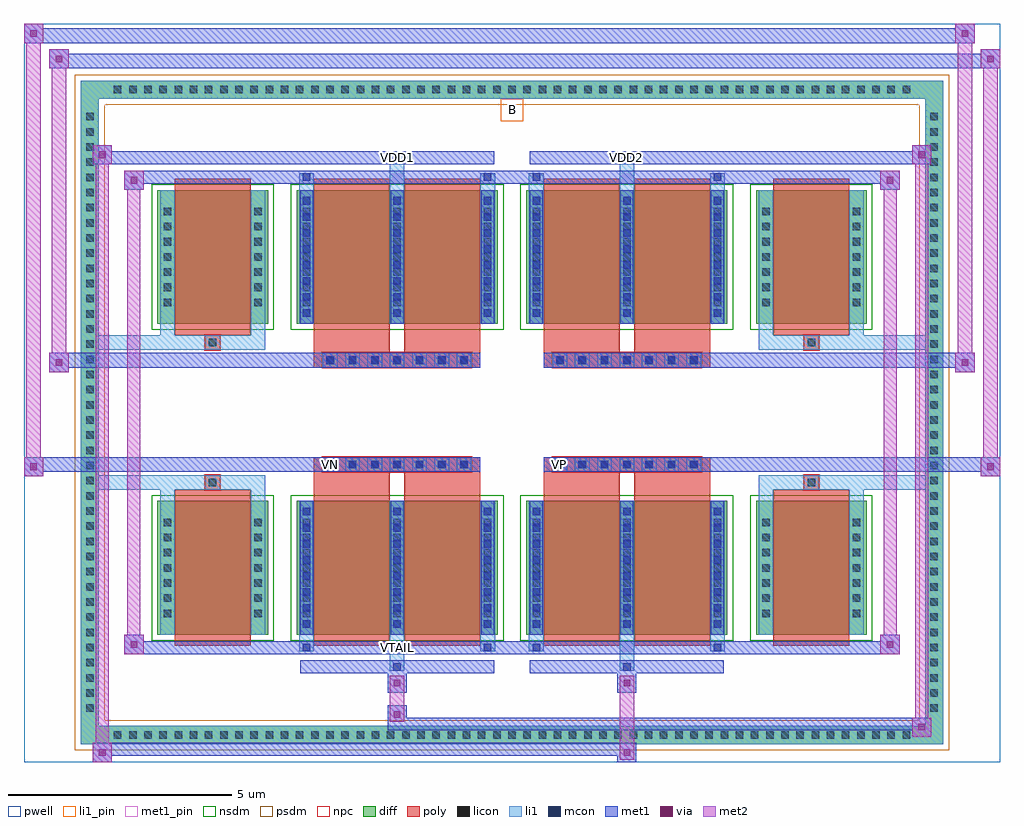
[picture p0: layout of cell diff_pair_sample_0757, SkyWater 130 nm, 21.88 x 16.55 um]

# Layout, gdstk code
import gdstk
lib = gdstk.Library(unit=1e-6, precision=5e-09)
def R(c, l, rs):  # rectangles x0, y0, x1, y1
    for r in rs: c.add(gdstk.rectangle(r[:2], r[2:], *l))
def A(c, l, x, y, w, h, nx, ny, dx, dy):  # array of equal rectangles
    R(c, l, [(x+i*dx, y+j*dy, x+i*dx+w, y+j*dy+h) for i in range(nx) for j in range(ny)])
def P(c, l, *ps):  # polygons
    for p in ps: c.add(gdstk.Polygon(p, *l))
pwell = (64, 44)
diff = (65, 20)
poly = (66, 20)
licon = (66, 44)
li1_pin = (67, 16)
li1 = (67, 20)
mcon = (67, 44)
met1_pin = (68, 16)
met1 = (68, 20)
via = (68, 44)
met2 = (69, 20)
nsdm = (93, 44)
psdm = (94, 20)
npc = (95, 20)

diff_pair_sample_0757 = lib.new_cell('diff_pair_sample_0757')
R(diff_pair_sample_0757, pwell, [(-10.94,-7.84,10.94,8.71), (-8.26,-6.03,-0.01,-0.805), (0.01,-6.03,8.26,-0.805), (-8.26,0.805,-0.01,6.03), (0.01,0.805,8.26,6.03)])
A(diff_pair_sample_0757, diff, -9.045, -7.44, 0.41, 0.41, 53, 2, 0.34, 14.47)
A(diff_pair_sample_0757, diff, -9.67, -6.835, 0.41, 0.41, 1, 40, 0, 0.34)
A(diff_pair_sample_0757, diff, 9.26, -6.835, 0.41, 0.41, 1, 40, 0, 0.34)
R(diff_pair_sample_0757, diff, [(-9.045,-7.44,9.045,-7.03), (-9.67,-6.835,-9.26,6.835), (9.26,-6.835,9.67,6.835), (-7.95,-4.985,-5.47,-1.985), (-4.83,-4.985,-0.32,-1.985), (0.32,-4.985,4.83,-1.985), (5.47,-4.985,7.95,-1.985), (-7.95,1.985,-5.47,4.985), (-4.83,1.985,-0.32,4.985), (0.32,1.985,4.83,4.985), (5.47,1.985,7.95,4.985), (-9.045,7.03,9.045,7.44)])
P(diff_pair_sample_0757, diff, [(9.67,7.44),(-9.67,7.44),(-9.67,-7.03),(-9.26,-7.03),(-9.26,7.03),(9.26,7.03),(9.26,-7.03),(-9.26,-7.03),(-9.67,-7.03),(-9.67,-7.44),(9.67,-7.44)])
A(diff_pair_sample_0757, poly, -4.24, -1.335, 0.33, 0.33, 7, 2, 0.5, 2.34)
A(diff_pair_sample_0757, poly, 0.91, -1.335, 0.33, 0.33, 7, 2, 0.5, 2.34)
R(diff_pair_sample_0757, poly, [(-7.56,-5.235,-5.86,-1.735), (-4.44,-5.235,-2.74,-1.735), (-2.41,-5.235,-0.71,-1.735), (0.71,-5.235,2.41,-1.735), (2.74,-5.235,4.44,-1.735), (5.86,-5.235,7.56,-1.735), (-6.875,-1.735,-6.545,-1.405), (-6.875,-1.735,-6.545,-1.405), (-4.44,-1.735,-2.74,-1.335), (-2.41,-1.735,-0.71,-1.335), (0.71,-1.735,2.41,-1.335), (2.74,-1.735,4.44,-1.335), (6.545,-1.735,6.875,-1.405), (6.545,-1.735,6.875,-1.405), (-4.44,-1.335,-0.71,-1.005), (0.71,-1.335,4.44,-1.005), (-4.44,1.005,-0.71,1.335), (0.71,1.005,4.44,1.335), (-4.44,1.335,-2.74,1.735), (-2.41,1.335,-0.71,1.735), (0.71,1.335,2.41,1.735), (2.74,1.335,4.44,1.735), (-6.875,1.405,-6.545,1.735), (-6.875,1.405,-6.545,1.735), (6.545,1.405,6.875,1.735), (6.545,1.405,6.875,1.735), (-7.56,1.735,-5.86,5.235), (-4.44,1.735,-2.74,5.235), (-2.41,1.735,-0.71,5.235), (0.71,1.735,2.41,5.235), (2.74,1.735,4.44,5.235), (5.86,1.735,7.56,5.235)])
A(diff_pair_sample_0757, licon, -8.925, -7.32, 0.17, 0.17, 53, 2, 0.34, 14.47)
A(diff_pair_sample_0757, licon, -9.55, -6.715, 0.17, 0.17, 1, 40, 0, 0.34)
A(diff_pair_sample_0757, licon, 9.38, -6.715, 0.17, 0.17, 1, 40, 0, 0.34)
A(diff_pair_sample_0757, licon, -7.81, -4.59, 0.17, 0.17, 1, 7, 0, 0.34)
A(diff_pair_sample_0757, licon, -5.78, -4.59, 0.17, 0.17, 1, 7, 0, 0.34)
A(diff_pair_sample_0757, licon, -4.69, -4.59, 0.17, 0.17, 3, 7, 2.03, 0.34)
A(diff_pair_sample_0757, licon, 0.46, -4.59, 0.17, 0.17, 3, 7, 2.03, 0.34)
A(diff_pair_sample_0757, licon, 5.61, -4.59, 0.17, 0.17, 1, 7, 0, 0.34)
A(diff_pair_sample_0757, licon, 7.64, -4.59, 0.17, 0.17, 1, 7, 0, 0.34)
A(diff_pair_sample_0757, licon, -4.16, -1.255, 0.17, 0.17, 7, 2, 0.5, 2.34)
A(diff_pair_sample_0757, licon, 0.99, -1.255, 0.17, 0.17, 7, 2, 0.5, 2.34)
A(diff_pair_sample_0757, licon, -7.81, 2.38, 0.17, 0.17, 1, 7, 0, 0.34)
A(diff_pair_sample_0757, licon, -5.78, 2.38, 0.17, 0.17, 1, 7, 0, 0.34)
A(diff_pair_sample_0757, licon, -4.69, 2.38, 0.17, 0.17, 3, 7, 2.03, 0.34)
A(diff_pair_sample_0757, licon, 0.46, 2.38, 0.17, 0.17, 3, 7, 2.03, 0.34)
A(diff_pair_sample_0757, licon, 5.61, 2.38, 0.17, 0.17, 1, 7, 0, 0.34)
A(diff_pair_sample_0757, licon, 7.64, 2.38, 0.17, 0.17, 1, 7, 0, 0.34)
R(diff_pair_sample_0757, licon, [(-6.795,-1.655,-6.625,-1.485), (6.625,-1.655,6.795,-1.485), (-6.795,1.485,-6.625,1.655), (6.625,1.485,6.795,1.655)])
R(diff_pair_sample_0757, li1_pin, [(-0.25,6.53,0.25,7.03)])
A(diff_pair_sample_0757, li1, -9.005, -7.4, 0.33, 0.33, 53, 2, 0.34, 14.47)
A(diff_pair_sample_0757, li1, -9.63, -6.795, 0.33, 0.33, 1, 40, 0, 0.34)
A(diff_pair_sample_0757, li1, 9.3, -6.795, 0.33, 0.33, 1, 40, 0, 0.34)
A(diff_pair_sample_0757, li1, -4.77, -4.985, 0.33, 3, 3, 2, 2.03, 6.97)
A(diff_pair_sample_0757, li1, 0.38, -4.985, 0.33, 3, 3, 2, 2.03, 6.97)
A(diff_pair_sample_0757, li1, -4.69, -4.83, 0.17, 0.17, 3, 8, 2.03, 0.36)
A(diff_pair_sample_0757, li1, -4.69, -4.83, 0.17, 2.69, 3, 2, 2.03, 6.97)
A(diff_pair_sample_0757, li1, 0.46, -4.83, 0.17, 0.17, 3, 8, 2.03, 0.36)
A(diff_pair_sample_0757, li1, 0.46, -4.83, 0.17, 2.69, 3, 2, 2.03, 6.97)
A(diff_pair_sample_0757, li1, -7.89, -4.67, 0.33, 0.33, 1, 7, 0, 0.34)
A(diff_pair_sample_0757, li1, -5.86, -4.67, 0.33, 0.33, 1, 7, 0, 0.34)
A(diff_pair_sample_0757, li1, -4.77, -4.67, 0.33, 0.33, 3, 7, 2.03, 0.34)
A(diff_pair_sample_0757, li1, 0.38, -4.67, 0.33, 0.33, 3, 7, 2.03, 0.34)
A(diff_pair_sample_0757, li1, 5.53, -4.67, 0.33, 0.33, 1, 7, 0, 0.34)
A(diff_pair_sample_0757, li1, 7.56, -4.67, 0.33, 0.33, 1, 7, 0, 0.34)
A(diff_pair_sample_0757, li1, -4.24, -1.335, 0.33, 0.33, 7, 2, 0.5, 2.34)
A(diff_pair_sample_0757, li1, 0.91, -1.335, 0.33, 0.33, 7, 2, 0.5, 2.34)
A(diff_pair_sample_0757, li1, -4.69, 2.14, 0.17, 0.17, 3, 8, 2.03, 0.36)
A(diff_pair_sample_0757, li1, 0.46, 2.14, 0.17, 0.17, 3, 8, 2.03, 0.36)
A(diff_pair_sample_0757, li1, -7.89, 2.3, 0.33, 0.33, 1, 7, 0, 0.34)
A(diff_pair_sample_0757, li1, -5.86, 2.3, 0.33, 0.33, 1, 7, 0, 0.34)
A(diff_pair_sample_0757, li1, -4.77, 2.3, 0.33, 0.33, 3, 7, 2.03, 0.34)
A(diff_pair_sample_0757, li1, 0.38, 2.3, 0.33, 0.33, 3, 7, 2.03, 0.34)
A(diff_pair_sample_0757, li1, 5.53, 2.3, 0.33, 0.33, 1, 7, 0, 0.34)
A(diff_pair_sample_0757, li1, 7.56, 2.3, 0.33, 0.33, 1, 7, 0, 0.34)
R(diff_pair_sample_0757, li1, [(-9.67,-7.44,-9.26,-7.03), (-9.67,-7.44,-9.26,-7.03), (-9.26,-7.44,9.26,-7.03), (9.26,-7.44,9.67,-7.03), (9.26,-7.44,9.67,-7.03), (-9.67,-7.03,-9.26,7.03), (9.26,-7.03,9.67,7.03), (-2.74,-5.79,-2.41,-4.985), (-2.66,-5.79,-2.49,-5.62), (2.41,-5.79,2.74,-4.985), (2.49,-5.79,2.66,-5.62), (-4.77,-5.36,-4.44,-4.985), (-4.69,-5.36,-4.52,-5.19), (-0.71,-5.36,-0.38,-4.985), (-0.63,-5.36,-0.46,-5.19), (0.38,-5.36,0.71,-4.985), (0.46,-5.36,0.63,-5.19), (4.44,-5.36,4.77,-4.985), (4.52,-5.36,4.69,-5.19), (-7.89,-4.985,-7.56,-1.985), (-5.86,-4.985,-5.53,-1.985), (5.53,-4.985,5.86,-1.985), (7.56,-4.985,7.89,-1.985), (-7.89,-1.985,-7.56,-1.405), (-5.86,-1.985,-5.53,-1.405), (5.53,-1.985,5.86,-1.405), (7.56,-1.985,7.89,-1.405), (-9.67,-1.735,-6.875,-1.405), (-7.89,-1.735,-6.875,-1.405), (-6.875,-1.735,-6.545,-1.405), (-6.545,-1.735,-5.53,-1.405), (5.53,-1.735,6.545,-1.405), (6.545,-1.735,6.875,-1.405), (6.545,-1.735,9.67,-1.405), (6.875,-1.735,7.89,-1.405), (-9.67,1.405,-6.875,1.735), (-7.89,1.405,-6.875,1.735), (-7.89,1.405,-7.56,1.985), (-6.875,1.405,-6.545,1.735), (-6.545,1.405,-5.53,1.735), (-5.86,1.405,-5.53,1.985), (5.53,1.405,6.545,1.735), (5.53,1.405,5.86,1.985), (6.545,1.405,6.875,1.735), (6.545,1.405,9.67,1.735), (6.875,1.405,7.89,1.735), (7.56,1.405,7.89,1.985), (-7.89,1.985,-7.56,4.985), (-5.86,1.985,-5.53,4.985), (5.53,1.985,5.86,4.985), (7.56,1.985,7.89,4.985), (-4.77,4.985,-4.44,5.36), (-2.74,4.985,-2.41,5.79), (-0.71,4.985,-0.38,5.36), (0.38,4.985,0.71,5.36), (2.41,4.985,2.74,5.79), (4.44,4.985,4.77,5.36), (-4.69,5.19,-4.52,5.36), (-0.63,5.19,-0.46,5.36), (0.46,5.19,0.63,5.36), (4.52,5.19,4.69,5.36), (-2.66,5.62,-2.49,5.79), (2.49,5.62,2.66,5.79), (-9.67,7.03,-9.26,7.44), (-9.67,7.03,-9.26,7.44), (-9.26,7.03,9.26,7.44), (9.26,7.03,9.67,7.44), (9.26,7.03,9.67,7.44)])
A(diff_pair_sample_0757, mcon, -4.69, -4.83, 0.17, 0.17, 3, 8, 2.03, 0.36)
A(diff_pair_sample_0757, mcon, 0.46, -4.83, 0.17, 0.17, 3, 8, 2.03, 0.36)
A(diff_pair_sample_0757, mcon, -4.16, -1.255, 0.17, 0.17, 7, 2, 0.5, 2.34)
A(diff_pair_sample_0757, mcon, 0.99, -1.255, 0.17, 0.17, 7, 2, 0.5, 2.34)
A(diff_pair_sample_0757, mcon, -4.69, 2.14, 0.17, 0.17, 3, 8, 2.03, 0.36)
A(diff_pair_sample_0757, mcon, 0.46, 2.14, 0.17, 0.17, 3, 8, 2.03, 0.36)
R(diff_pair_sample_0757, mcon, [(-2.66,-5.79,-2.49,-5.62), (2.49,-5.79,2.66,-5.62), (-4.69,-5.36,-4.52,-5.19), (-0.63,-5.36,-0.46,-5.19), (0.46,-5.36,0.63,-5.19), (4.52,-5.36,4.69,-5.19), (-4.69,5.19,-4.52,5.36), (-0.63,5.19,-0.46,5.36), (0.46,5.19,0.63,5.36), (4.52,5.19,4.69,5.36), (-2.66,5.62,-2.49,5.79), (2.49,5.62,2.66,5.79)])
R(diff_pair_sample_0757, met1_pin, [(-2.71,-5.4,-2.44,-5.13), (-4.21,-1.295,-3.94,-1.025), (0.94,-1.295,1.21,-1.025), (-2.71,5.58,-2.44,5.85), (2.44,5.58,2.71,5.85)])
A(diff_pair_sample_0757, met1, -4.75, -4.985, 0.29, 3, 3, 2, 2.03, 6.97)
A(diff_pair_sample_0757, met1, 0.4, -4.985, 0.29, 3, 3, 2, 2.03, 6.97)
A(diff_pair_sample_0757, met1, -4.75, -4.89, 0.29, 0.29, 3, 8, 2.03, 0.36)
A(diff_pair_sample_0757, met1, 0.4, -4.89, 0.29, 0.29, 3, 8, 2.03, 0.36)
A(diff_pair_sample_0757, met1, -4.22, -1.315, 0.29, 0.29, 7, 2, 0.5, 2.34)
A(diff_pair_sample_0757, met1, 0.93, -1.315, 0.29, 0.29, 7, 2, 0.5, 2.34)
A(diff_pair_sample_0757, met1, -4.75, 2.08, 0.29, 0.29, 3, 8, 2.03, 0.36)
A(diff_pair_sample_0757, met1, 0.4, 2.08, 0.29, 0.29, 3, 8, 2.03, 0.36)
R(diff_pair_sample_0757, met1, [(-9.4,-7.84,-8.97,-7.41), (2.36,-7.84,2.79,-7.41), (-9.4,-7.7,2.79,-7.41), (8.97,-7.27,9.4,-6.84), (-2.79,-7.13,9.4,-6.84), (-2.79,-6.99,-2.36,-6.56), (-2.79,-6.28,-2.36,-5.85), (2.36,-6.28,2.79,-5.85), (-4.75,-5.85,-0.4,-5.56), (-2.72,-5.85,-2.43,-5.56), (0.4,-5.85,4.75,-5.56), (2.43,-5.85,2.72,-5.56), (-8.69,-5.42,-8.26,-4.99), (-8.69,-5.42,-4.75,-5.13), (-4.75,-5.42,-4.46,-5.13), (-4.75,-5.42,-0.4,-5.13), (-0.69,-5.42,-0.4,-5.13), (-0.4,-5.42,0.4,-5.13), (0.4,-5.42,0.69,-5.13), (0.4,-5.42,4.75,-5.13), (4.46,-5.42,4.75,-5.13), (4.75,-5.42,8.69,-5.13), (8.26,-5.42,8.69,-4.99), (-10.94,-1.435,-10.51,-1.005), (10.51,-1.435,10.94,-1.005), (-10.94,-1.335,-0.71,-1.005), (-4.44,-1.335,-0.71,-1.005), (0.71,-1.335,4.44,-1.005), (0.71,-1.335,10.94,-1.005), (-10.37,0.905,-9.94,1.335), (9.94,0.905,10.37,1.335), (-10.37,1.005,-4.44,1.335), (-4.44,1.005,-0.71,1.335), (0.71,1.005,4.44,1.335), (4.44,1.005,10.37,1.335), (-8.69,4.99,-8.26,5.42), (8.26,4.99,8.69,5.42), (-8.69,5.13,-4.75,5.42), (-4.75,5.13,-4.46,5.42), (-4.75,5.13,-0.4,5.42), (-0.69,5.13,-0.4,5.42), (-0.4,5.13,0.4,5.42), (0.4,5.13,0.69,5.42), (0.4,5.13,4.75,5.42), (4.46,5.13,4.75,5.42), (4.75,5.13,8.69,5.42), (-9.4,5.56,-8.97,5.99), (-9.4,5.56,-4.75,5.85), (-4.75,5.56,-0.4,5.85), (-2.72,5.56,-2.43,5.85), (0.4,5.56,4.75,5.85), (2.43,5.56,2.72,5.85), (4.75,5.56,9.4,5.85), (8.97,5.56,9.4,5.99), (-10.37,7.71,-9.94,8.14), (-10.37,7.71,-8.26,8.04), (-8.26,7.71,8.26,8.04), (8.26,7.71,10.94,8.04), (10.51,7.71,10.94,8.14), (-10.94,8.28,-10.51,8.71), (-10.94,8.28,-8.26,8.61), (-8.26,8.28,8.26,8.61), (8.26,8.28,10.37,8.61), (9.94,8.28,10.37,8.71)])
R(diff_pair_sample_0757, via, [(-9.26,-7.7,-9.11,-7.55), (2.5,-7.7,2.65,-7.55), (9.11,-7.13,9.26,-6.98), (-2.65,-6.85,-2.5,-6.7), (-2.65,-6.14,-2.5,-5.99), (2.5,-6.14,2.65,-5.99), (-8.55,-5.28,-8.4,-5.13), (8.4,-5.28,8.55,-5.13), (-10.8,-1.295,-10.65,-1.145), (10.65,-1.295,10.8,-1.145), (-10.23,1.045,-10.08,1.195), (10.08,1.045,10.23,1.195), (-8.55,5.13,-8.4,5.28), (8.4,5.13,8.55,5.28), (-9.26,5.7,-9.11,5.85), (9.11,5.7,9.26,5.85), (-10.23,7.85,-10.08,8), (10.65,7.85,10.8,8), (-10.8,8.42,-10.65,8.57), (10.08,8.42,10.23,8.57)])
R(diff_pair_sample_0757, met2, [(-9.4,-7.84,-8.97,-7.41), (-9.33,-7.84,-9.04,5.99), (-9.04,-7.84,-8.97,-7.41), (-9.35,-7.79,-9.02,-7.46), (2.41,-7.79,2.74,-7.46), (2.41,-7.46,2.74,-6.23), (8.97,-7.27,9.4,-6.84), (9.04,-7.27,9.33,5.99), (9.33,-7.27,9.4,-6.84), (9.02,-7.22,9.35,-6.89), (-2.74,-6.94,-2.41,-6.61), (-2.74,-6.61,-2.41,-6.23), (-2.74,-6.23,-2.41,-5.9), (2.41,-6.23,2.74,-5.9), (-8.69,-5.42,-8.26,-4.99), (-8.62,-5.42,-8.33,5.42), (-8.33,-5.42,-8.26,-4.99), (8.26,-5.42,8.69,-4.99), (8.33,-5.42,8.62,5.42), (8.62,-5.42,8.69,-4.99), (-8.64,-5.37,-8.31,-5.04), (8.31,-5.37,8.64,-5.04), (-10.94,-1.435,-10.51,-1.005), (-10.89,-1.435,-10.56,8.71), (-10.56,-1.435,-10.51,-1.005), (10.51,-1.435,10.94,-1.005), (10.56,-1.435,10.89,8.14), (10.89,-1.435,10.94,-1.005), (-10.89,-1.385,-10.56,-1.055), (10.56,-1.385,10.89,-1.055), (-10.37,0.905,-9.94,1.335), (-10.32,0.905,-9.99,8.14), (-9.99,0.905,-9.94,1.335), (9.94,0.905,10.37,1.335), (9.99,0.905,10.32,8.71), (10.32,0.905,10.37,1.335), (-10.32,0.955,-9.99,1.285), (9.99,0.955,10.32,1.285), (-8.69,4.99,-8.26,5.42), (-8.33,4.99,-8.26,5.42), (8.26,4.99,8.69,5.42), (8.62,4.99,8.69,5.42), (-8.64,5.04,-8.31,5.37), (8.31,5.04,8.64,5.37), (-9.4,5.56,-8.97,5.99), (-9.04,5.56,-8.97,5.99), (8.97,5.56,9.4,5.99), (9.33,5.56,9.4,5.99), (-9.35,5.61,-9.02,5.94), (9.02,5.61,9.35,5.94), (-10.37,7.71,-9.94,8.14), (-9.99,7.71,-9.94,8.14), (10.51,7.71,10.94,8.14), (10.89,7.71,10.94,8.14), (-10.32,7.76,-9.99,8.09), (10.56,7.76,10.89,8.09), (-10.94,8.28,-10.51,8.71), (-10.56,8.28,-10.51,8.71), (9.94,8.28,10.37,8.71), (10.32,8.28,10.37,8.71), (-10.89,8.33,-10.56,8.66), (9.99,8.33,10.32,8.66)])
R(diff_pair_sample_0757, nsdm, [(-8.08,-5.115,-5.34,-1.855), (-4.96,-5.115,-0.19,-1.855), (0.19,-5.115,4.96,-1.855), (5.34,-5.115,8.08,-1.855), (-8.08,1.855,-5.34,5.115), (-4.96,1.855,-0.19,5.115), (0.19,1.855,4.96,5.115), (5.34,1.855,8.08,5.115)])
P(diff_pair_sample_0757, psdm, [(9.8,7.57),(-9.8,7.57),(-9.8,-6.9),(-9.13,-6.9),(-9.13,6.9),(9.13,6.9),(9.13,-6.9),(-9.13,-6.9),(-9.8,-6.9),(-9.8,-7.57),(9.8,-7.57)])
A(diff_pair_sample_0757, npc, -4.26, -1.355, 0.37, 0.37, 7, 2, 0.5, 2.34)
A(diff_pair_sample_0757, npc, 0.89, -1.355, 0.37, 0.37, 7, 2, 0.5, 2.34)
R(diff_pair_sample_0757, npc, [(-6.895,-1.755,-6.525,-1.385), (6.525,-1.755,6.895,-1.385), (-4.26,-1.355,-3.39,-0.985), (-4.26,-1.355,-3.39,-0.985), (-3.76,-1.355,-2.89,-0.985), (-3.76,-1.355,-2.89,-0.985), (-3.26,-1.355,-2.39,-0.985), (-3.26,-1.355,-2.39,-0.985), (-2.76,-1.355,-1.89,-0.985), (-2.76,-1.355,-1.89,-0.985), (-2.26,-1.355,-1.39,-0.985), (-2.26,-1.355,-1.39,-0.985), (-1.76,-1.355,-0.89,-0.985), (-1.76,-1.355,-0.89,-0.985), (0.89,-1.355,1.76,-0.985), (0.89,-1.355,1.76,-0.985), (1.39,-1.355,2.26,-0.985), (1.39,-1.355,2.26,-0.985), (1.89,-1.355,2.76,-0.985), (1.89,-1.355,2.76,-0.985), (2.39,-1.355,3.26,-0.985), (2.39,-1.355,3.26,-0.985), (2.89,-1.355,3.76,-0.985), (2.89,-1.355,3.76,-0.985), (3.39,-1.355,4.26,-0.985), (3.39,-1.355,4.26,-0.985), (-4.26,0.985,-3.39,1.355), (-4.26,0.985,-3.39,1.355), (-3.76,0.985,-2.89,1.355), (-3.76,0.985,-2.89,1.355), (-3.26,0.985,-2.39,1.355), (-3.26,0.985,-2.39,1.355), (-2.76,0.985,-1.89,1.355), (-2.76,0.985,-1.89,1.355), (-2.26,0.985,-1.39,1.355), (-2.26,0.985,-1.39,1.355), (-1.76,0.985,-0.89,1.355), (-1.76,0.985,-0.89,1.355), (0.89,0.985,1.76,1.355), (0.89,0.985,1.76,1.355), (1.39,0.985,2.26,1.355), (1.39,0.985,2.26,1.355), (1.89,0.985,2.76,1.355), (1.89,0.985,2.76,1.355), (2.39,0.985,3.26,1.355), (2.39,0.985,3.26,1.355), (2.89,0.985,3.76,1.355), (2.89,0.985,3.76,1.355), (3.39,0.985,4.26,1.355), (3.39,0.985,4.26,1.355), (-6.895,1.385,-6.525,1.755), (6.525,1.385,6.895,1.755)])
diff_pair_sample_0757.add(gdstk.Label('VTAIL', (-2.575,-5.265), layer=68, texttype=5))
diff_pair_sample_0757.add(gdstk.Label('VN', (-4.075,-1.16), layer=68, texttype=5))
diff_pair_sample_0757.add(gdstk.Label('VP', (1.075,-1.16), layer=68, texttype=5))
diff_pair_sample_0757.add(gdstk.Label('B', (0,6.78), layer=67, texttype=5))
diff_pair_sample_0757.add(gdstk.Label('VDD2', (2.575,5.715), layer=68, texttype=5))
diff_pair_sample_0757.add(gdstk.Label('VDD1', (-2.575,5.715), layer=68, texttype=5))

lib.write_gds('diff_pair_sample_0757.gds')
